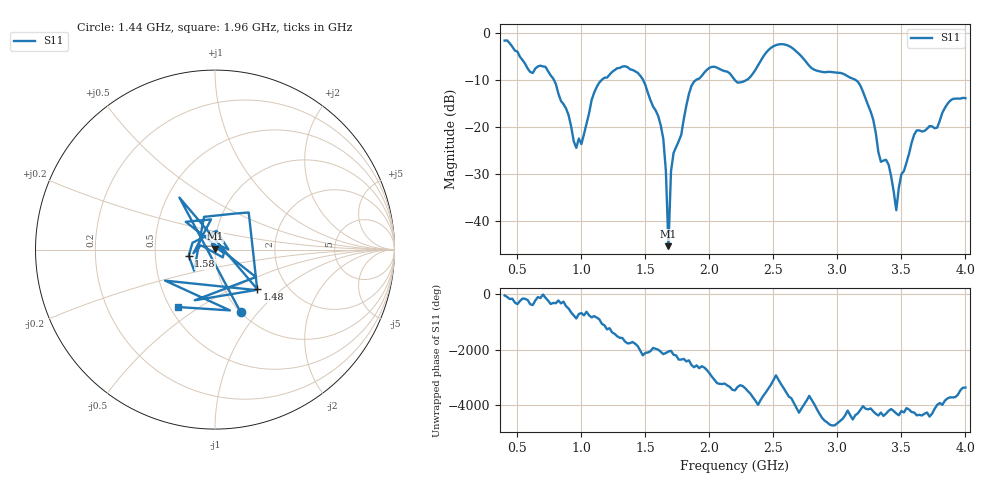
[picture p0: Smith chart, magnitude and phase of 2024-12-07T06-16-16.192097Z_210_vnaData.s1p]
!Created with skrf (http://scikit-rf.org).
# Hz S RI R 50.0
!freq ReS11 ImS11
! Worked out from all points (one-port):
!   181 points, 400 MHz to 4 GHz, reference 50 ohm
!   lowest |S11| = -45.3 dB at 1.68 GHz (marker M1), VSWR 1.01, Z = 49.9 + j0.539 ohm
!   |S11| at or under -10 dB: 785.5 MHz to 1.158 GHz (372.7 MHz wide, 38.4 % of centre); 1.482 GHz to 1.895 GHz (412.9 MHz wide, 24.4 % of centre); 3.143 GHz to end of sweep (the widest 3 of 4)
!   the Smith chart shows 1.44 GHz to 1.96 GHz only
!   S11 on the Smith chart (normalised r, x): 1.44 GHz: 1.00, -0.82; 1.48 GHz: 1.42, -0.69; 1.58 GHz: 0.74, -0.05; 1.96 GHz: 0.55, -0.41
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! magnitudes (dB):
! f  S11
! 400 MHz  -1.6
! 600 MHz  -8.3
! 720 MHz  -7.2
! 860 MHz  -15.1
! 960 MHz  -24.4
! 1.12 GHz  -11.5
! 1.3 GHz  -7.4
! 1.44 GHz  -8.5
! 1.48 GHz  -9.9
! 1.58 GHz  -16.5
! 1.64 GHz  -22.5
! 1.66 GHz  -29.3
! 1.68 GHz  -45.3
! 1.7 GHz  -29.4
! 1.76 GHz  -23.0
! 1.86 GHz  -11.2
! 1.96 GHz  -8.4
! 2.2 GHz  -10.1
! 2.5 GHz  -2.8
! 2.66 GHz  -3.5
! 3.1 GHz  -9.5
! 3.26 GHz  -16.7
! 3.34 GHz  -27.4
! 3.4 GHz  -28.0
! 3.46 GHz  -37.6
! 3.56 GHz  -25.6
! 3.62 GHz  -20.7
! 4 GHz  -13.8
